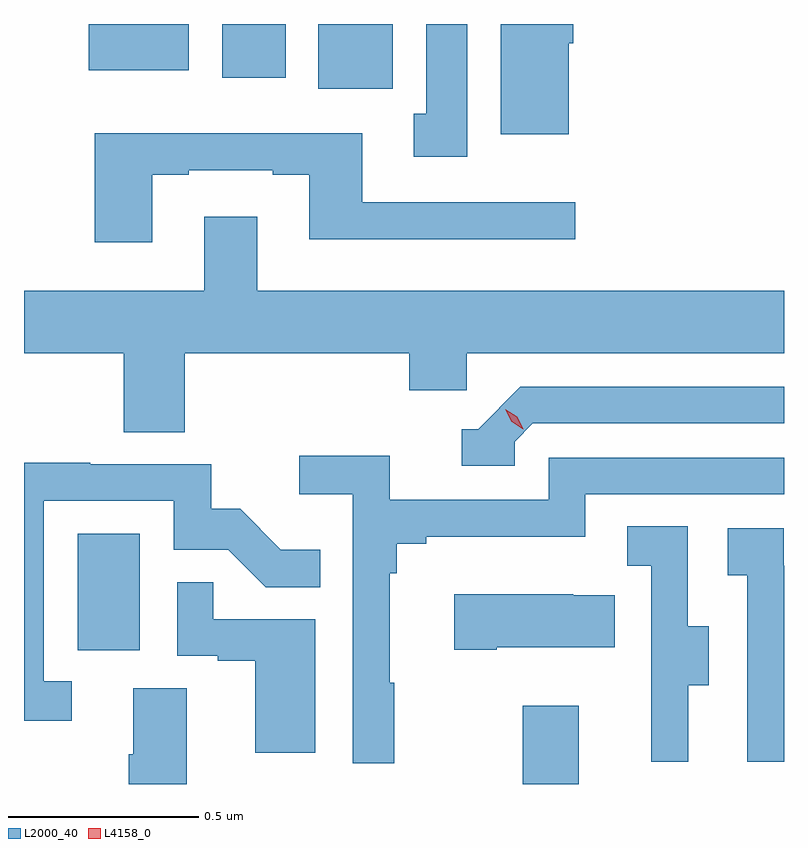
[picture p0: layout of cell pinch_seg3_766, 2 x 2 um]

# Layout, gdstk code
import gdstk
lib = gdstk.Library(unit=1e-6, precision=1e-09)
def R(c, l, rs):  # rectangles x0, y0, x1, y1
    for r in rs: c.add(gdstk.rectangle(r[:2], r[2:], *l))
def P(c, l, *ps):  # polygons
    for p in ps: c.add(gdstk.Polygon(p, *l))
L2000_40 = (2000, 40)
L4158_0 = (4158, 0)

pinch_seg3_766 = lib.new_cell('pinch_seg3_766')
R(pinch_seg3_766, L2000_40, [(842.26,742.406,842.407,742.612), (841.088,742.758,841.252,743.065), (841.721,744.236,841.918,744.406), (841.469,744.264,841.636,744.406), (841.118,744.284,841.381,744.406)])
P(pinch_seg3_766, L2000_40, [(842.113,744.406),(842.006,744.406),(842.006,744.17),(841.973,744.17),(841.973,744.057),(842.113,744.057)],
  [(842.38,744.356),(842.393,744.356),(842.393,744.406),(842.201,744.406),(842.201,744.116),(842.38,744.116)],
  [(841.285,744.009),(841.381,744.009),(841.381,744.021),(841.601,744.021),(841.601,744.009),(841.697,744.009),(841.697,743.84),(842.398,743.84),(842.398,743.937),(841.837,743.937),(841.837,744.118),(841.133,744.118),(841.133,743.832),(841.285,743.832)],
  [(841.37,743.54),(841.961,743.54),(841.961,743.442),(842.112,743.442),(842.112,743.54),(842.947,743.54),(842.947,743.704),(841.561,743.704),(841.561,743.899),(841.421,743.899),(841.421,743.704),(840.947,743.704),(840.947,743.54),(841.21,743.54),(841.21,743.332),(841.37,743.332)],
  [(842.238,743.307),(842.286,743.355),(842.947,743.355),(842.947,743.451),(842.253,743.451),(842.142,743.34),(842.099,743.34),(842.099,743.244),(842.238,743.244)],
  [(841.921,742.673),(841.909,742.673),(841.909,742.961),(841.928,742.961),(841.928,743.038),(842.005,743.038),(842.005,743.057),(842.424,743.057),(842.424,743.169),(842.947,743.169),(842.947,743.265),(842.328,743.265),(842.328,743.154),(841.91,743.154),(841.91,743.27),(841.671,743.27),(841.671,743.168),(841.812,743.168),(841.812,742.461),(841.921,742.461)],
  [(841.072,742.677),(840.999,742.677),(840.999,743.151),(841.341,743.151),(841.341,743.022),(841.485,743.022),(841.583,742.924),(841.727,742.924),(841.727,743.023),(841.623,743.023),(841.516,743.13),(841.44,743.13),(841.44,743.247),(841.121,743.247),(841.121,743.252),(840.947,743.252),(840.947,742.572),(841.072,742.572)],
  [(842.695,742.666),(842.749,742.666),(842.749,742.821),(842.694,742.821),(842.694,743.084),(842.535,743.084),(842.535,742.981),(842.598,742.981),(842.598,742.677),(842.597,742.677),(842.597,742.464),(842.695,742.464)],
  [(842.947,742.981),(842.946,742.981),(842.946,743.079),(842.799,743.079),(842.799,742.955),(842.85,742.955),(842.85,742.464),(842.947,742.464)],
  [(841.714,742.839),(841.445,742.839),(841.445,742.937),(841.35,742.937),(841.35,742.743),(841.457,742.743),(841.457,742.731),(841.556,742.731),(841.556,742.488),(841.714,742.488)],
  [(842.191,742.766),(842.501,742.766),(842.501,742.903),(842.393,742.903),(842.393,742.906),(842.079,742.906),(842.079,742.759),(842.191,742.759)],
  [(841.375,742.658),(841.235,742.658),(841.235,742.484),(841.223,742.484),(841.223,742.406),(841.375,742.406)])
P(pinch_seg3_766, L4158_0, [(842.261,743.34),(842.23,743.359),(842.214,743.392),(842.214,743.392),(842.214,743.392),(842.245,743.373),(842.261,743.34),(842.261,743.34)])

lib.write_gds('pinch_seg3_766.gds')
